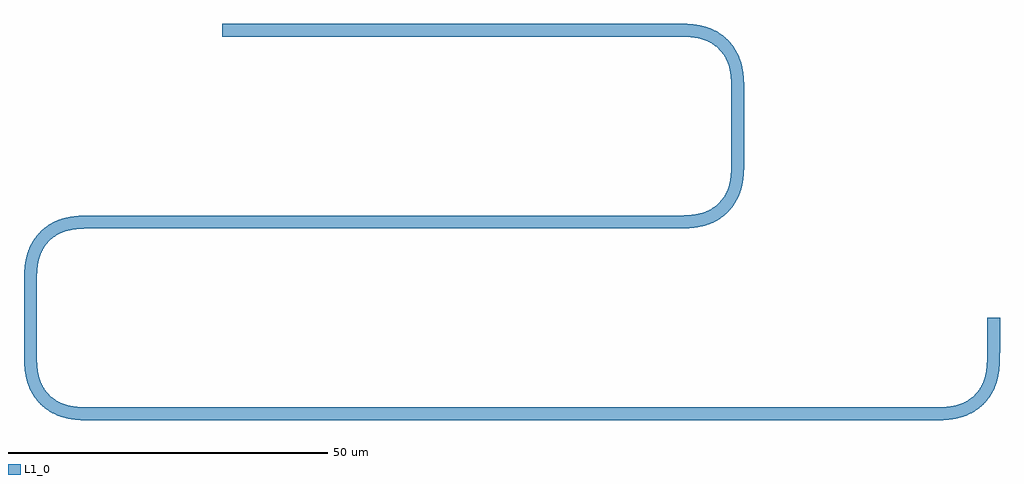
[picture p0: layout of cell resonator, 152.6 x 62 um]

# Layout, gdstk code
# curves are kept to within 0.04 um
from math import pi, radians
import gdstk
lib = gdstk.Library(unit=1e-6, precision=1e-09)
def R(c, l, rs):  # rectangles x0, y0, x1, y1
    for r in rs: c.add(gdstk.rectangle(r[:2], r[2:], *l))
def P(c, l, *ps):  # polygons
    for p in ps: c.add(gdstk.Polygon(p, *l))
L1_0 = (1, 0)

bend_euler_radius10_widt = lib.new_cell('bend_euler_radius10_width2')
P(bend_euler_radius10_widt, L1_0, [(0,-1),(2.868,-0.905),(3.909,-0.761),(4.956,-0.517),(5.989,-0.144),(6.835,0.287),(7.624,0.814),(8.459,1.541),(9.186,2.376),(9.713,3.165),(10.144,4.011),(10.517,5.044),(10.761,6.091),(10.905,7.132),(11,10),(9,10),(8.926,7.456),(8.63,5.722),(8.358,4.922),(7.988,4.177),(7.591,3.583),(7.044,2.956),(6.417,2.409),(5.823,2.012),(5.078,1.642),(4.278,1.37),(2.544,1.074),(0,1)])

straight_6f0ee6cb = lib.new_cell('straight_6f0ee6cb')
R(straight_6f0ee6cb, L1_0, [(0,-1,70.6,1)])

straight_4a6bd9d5 = lib.new_cell('straight_4a6bd9d5')
R(straight_4a6bd9d5, L1_0, [(0,-1,10,1)])

straight_1b339a74 = lib.new_cell('straight_1b339a74')
R(straight_1b339a74, L1_0, [(0,-1,90.6,1)])

straight_1d63d4d2 = lib.new_cell('straight_1d63d4d2')
R(straight_1d63d4d2, L1_0, [(0,-1,130.6,1)])

straight_5231ee9b = lib.new_cell('straight_5231ee9b')
R(straight_5231ee9b, L1_0, [(0,-1,5,1)])

resonator = lib.new_cell('resonator')
resonator.add(gdstk.Reference(bend_euler_radius10_widt, (70.6,0), x_reflection=True))
resonator.add(gdstk.Reference(bend_euler_radius10_widt, (80.6,-20), rotation=3*pi/2, x_reflection=True))
resonator.add(gdstk.Reference(bend_euler_radius10_widt, (-20,-30), rotation=pi))
resonator.add(gdstk.Reference(bend_euler_radius10_widt, (-30,-50), rotation=3*pi/2))
resonator.add(gdstk.Reference(bend_euler_radius10_widt, (110.6,-60)))
resonator.add(gdstk.Reference(straight_6f0ee6cb, (0,0)))
resonator.add(gdstk.Reference(straight_4a6bd9d5, (80.6,-10), rotation=3*pi/2))
resonator.add(gdstk.Reference(straight_1b339a74, (70.6,-30), rotation=pi))
resonator.add(gdstk.Reference(straight_4a6bd9d5, (-30,-40), rotation=3*pi/2))
resonator.add(gdstk.Reference(straight_1d63d4d2, (-20,-60)))
resonator.add(gdstk.Reference(straight_5231ee9b, (120.6,-50), rotation=pi/2))

lib.write_gds('resonator.gds')
